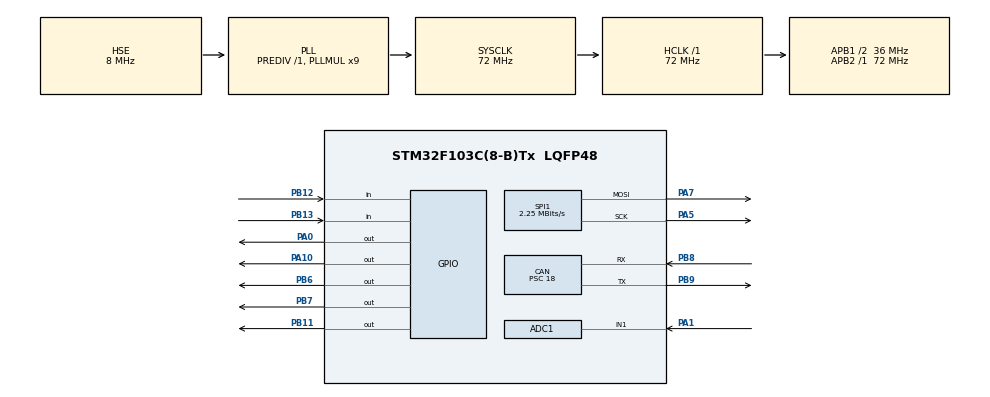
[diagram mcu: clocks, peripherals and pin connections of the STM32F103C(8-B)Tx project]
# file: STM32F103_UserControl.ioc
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ADC1.Channel-4\#ChannelRegularConversion=ADC_CHANNEL_1
ADC1.ContinuousConvMode=ENABLE
ADC1.EnableRegularConversion=ENABLE
ADC1.NbrOfConversion=1
ADC1.NbrOfConversionFlag=1
ADC1.Rank-4\#ChannelRegularConversion=1
ADC1.SamplingTime-4\#ChannelRegularConversion=ADC_SAMPLETIME_239CYCLES_5
ADC1.master=1
CAN.BS1=CAN_BS1_13TQ
CAN.BS2=CAN_BS2_2TQ
CAN.CalculateBaudRate=125000
CAN.CalculateTimeBit=8000
CAN.CalculateTimeQuantum=500.0
CAN.NART=DISABLE
CAN.Prescaler=18
CAN.TXFP=DISABLE
Dma.ADC1.0.Direction=DMA_PERIPH_TO_MEMORY
Dma.ADC1.0.Instance=DMA1_Channel1
Dma.ADC1.0.MemDataAlignment=DMA_MDATAALIGN_HALFWORD
Dma.ADC1.0.MemInc=DMA_MINC_ENABLE
Dma.ADC1.0.Mode=DMA_CIRCULAR
Dma.ADC1.0.PeriphDataAlignment=DMA_PDATAALIGN_HALFWORD
Dma.ADC1.0.PeriphInc=DMA_PINC_DISABLE
Dma.ADC1.0.Priority=DMA_PRIORITY_LOW
Dma.Request0=ADC1
Dma.Request1=SPI1_TX
Dma.SPI1_TX.1.Direction=DMA_MEMORY_TO_PERIPH
Dma.SPI1_TX.1.Instance=DMA1_Channel3
Dma.SPI1_TX.1.MemDataAlignment=DMA_MDATAALIGN_BYTE
Dma.SPI1_TX.1.MemInc=DMA_MINC_ENABLE
Dma.SPI1_TX.1.Mode=DMA_NORMAL
Dma.SPI1_TX.1.PeriphDataAlignment=DMA_PDATAALIGN_BYTE
Dma.SPI1_TX.1.PeriphInc=DMA_PINC_DISABLE
Dma.SPI1_TX.1.Priority=DMA_PRIORITY_LOW
IWDG.Prescaler=IWDG_PRESCALER_16
IWDG.Reload=2500
Mcu.Family=STM32F1
Mcu.Name=STM32F103C(8-B)Tx
Mcu.Package=LQFP48
NVIC.ADC1_2_IRQn=true\:5\:0\:true\:false\:true\:true\:true\:true
NVIC.CAN1_RX1_IRQn=true\:6\:0\:true\:false\:true\:true\:true\:true
NVIC.CAN1_SCE_IRQn=true\:5\:0\:true\:false\:true\:true\:true\:true
NVIC.DMA1_Channel1_IRQn=true\:5\:0\:true\:false\:true\:false\:true\:true
NVIC.DMA1_Channel3_IRQn=true\:6\:0\:true\:false\:true\:false\:true\:true
NVIC.PriorityGroup=NVIC_PRIORITYGROUP_4
NVIC.RTC_Alarm_IRQn=true\:7\:0\:true\:false\:true\:true\:true\:true
NVIC.RTC_IRQn=true\:5\:0\:true\:false\:true\:true\:true\:true
NVIC.SPI1_IRQn=true\:6\:0\:true\:false\:true\:true\:true\:true
NVIC.TIM4_IRQn=true\:15\:0\:false\:false\:true\:false\:true\:true
NVIC.TimeBase=TIM4_IRQn
NVIC.TimeBaseIP=TIM4
NVIC.USB_HP_CAN1_TX_IRQn=true\:7\:0\:true\:false\:true\:true\:true\:true
NVIC.USB_LP_CAN1_RX0_IRQn=true\:5\:0\:true\:false\:true\:true\:true\:true
PA0-WKUP.Signal=GPIO_Output
PA1.Signal=ADCx_IN1
PA10.Signal=GPIO_Output
PA13.Mode=Serial_Wire
PA13.Signal=SYS_JTMS-SWDIO
PA14.Mode=Serial_Wire
PA14.Signal=SYS_JTCK-SWCLK
PA5.Mode=TX_Only_Simplex_Unidirect_Master
PA5.Signal=SPI1_SCK
PA7.Mode=TX_Only_Simplex_Unidirect_Master
PA7.Signal=SPI1_MOSI
PB11.Signal=GPIO_Output
PB12.GPIO_PuPd=GPIO_PULLUP
PB12.Signal=GPIO_Input
PB13.GPIO_PuPd=GPIO_PULLUP
PB13.Signal=GPIO_Input
PB6.Signal=GPIO_Output
PB7.Signal=GPIO_Output
PB8.Mode=CAN_Activate
PB8.Signal=CAN_RX
PB9.Mode=CAN_Activate
PB9.Signal=CAN_TX
PC14-OSC32_IN.Mode=LSE-External-Oscillator
PC14-OSC32_IN.Signal=RCC_OSC32_IN
PC15-OSC32_OUT.Mode=LSE-External-Oscillator
PC15-OSC32_OUT.Signal=RCC_OSC32_OUT
PD0-OSC_IN.Mode=HSE-External-Oscillator
PD0-OSC_IN.Signal=RCC_OSC_IN
PD1-OSC_OUT.Mode=HSE-External-Oscillator
PD1-OSC_OUT.Signal=RCC_OSC_OUT
ProjectManager.HeapSize=0x200
ProjectManager.StackSize=0x400
ProjectManager.TargetToolchain=STM32CubeIDE
RCC.ADCPresc=RCC_ADCPCLK2_DIV6
RCC.AHBFreq_Value=72000000
RCC.APB1CLKDivider=RCC_HCLK_DIV2
RCC.APB1Freq_Value=36000000
RCC.APB1TimFreq_Value=72000000
RCC.APB2Freq_Value=72000000
RCC.APB2TimFreq_Value=72000000
RCC.HCLKFreq_Value=72000000
RCC.PLLMUL=RCC_PLL_MUL9
RCC.PLLSourceVirtual=RCC_PLLSOURCE_HSE
RCC.RTCClockSelection=RCC_RTCCLKSOURCE_LSE
RCC.SYSCLKFreq_VALUE=72000000
RCC.SYSCLKSource=RCC_SYSCLKSOURCE_PLLCLK
RCC.USBFreq_Value=72000000
RTC.AutoPrediv=RTC_AUTO_1_SECOND
RTC.Date=16
RTC.Format=RTC_FORMAT_BIN
RTC.Hours=22
RTC.Month=RTC_MONTH_APRIL
RTC.WeekDay=RTC_WEEKDAY_THURSDAY
RTC.Year=26
SH.ADCx_IN1.0=ADC1_IN1,IN1
SPI1.BaudRatePrescaler=SPI_BAUDRATEPRESCALER_32
SPI1.CalculateBaudRate=2.25 MBits/s
SPI1.Direction=SPI_DIRECTION_2LINES
SPI1.Mode=SPI_MODE_MASTER
SPI1.VirtualType=VM_MASTER
VP_IWDG_VS_IWDG.Mode=IWDG_Activate
VP_RTC_VS_RTC_Activate.Mode=RTC_Enabled
VP_RTC_VS_RTC_Calendar.Mode=RTC_Calendar
VP_SYS_VS_tim4.Mode=TIM4
board=custom

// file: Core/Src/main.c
/* USER CODE BEGIN Header */
/**
  ******************************************************************************
  * @file           : main.c
  * @brief          : Main program body
  ******************************************************************************
  * @attention
  *
  * Copyright (c) 2026 STMicroelectronics.
  * All rights reserved.
  *
  * This software is licensed under terms that can be found in the LICENSE file
  * in the root directory of this software component.
  * If no LICENSE file comes with this software, it is provided AS-IS.
  *
  ******************************************************************************
  */
/* USER CODE END Header */
#include "main.h"

/* USER CODE BEGIN Includes */

#include "stdio.h"
#include "FreeRTOSConfig.h"
#include "FreeRTOS.h"
#include "task.h"

/* USER CODE END Includes */

ADC_HandleTypeDef hadc1;
DMA_HandleTypeDef hdma_adc1;

CAN_HandleTypeDef hcan;

IWDG_HandleTypeDef hiwdg;

RTC_HandleTypeDef hrtc;

SPI_HandleTypeDef hspi1;
DMA_HandleTypeDef hdma_spi1_tx;

void SystemClock_Config(void);
static void MX_GPIO_Init(void);
static void MX_DMA_Init(void);
static void MX_ADC1_Init(void);
static void MX_RTC_Init(void);
static void MX_SPI1_Init(void);
static void MX_IWDG_Init(void);
static void MX_CAN_Init(void);

int main(void)
{

  /* MCU Configuration--------------------------------------------------------*/

  /* Reset of all peripherals, Initializes the Flash interface and the Systick. */
  HAL_Init();

  /* USER CODE BEGIN Init */

  /* Enable DWT clock for proper work SEGGER SYSVIEW */
  CoreDebug->DEMCR |= CoreDebug_DEMCR_TRCENA_Msk;
  DWT->CYCCNT = 0;
  DWT->CTRL |= DWT_CTRL_CYCCNTENA_Msk;

  /* Set grouping priority manually for avoiding freeRTOS conflicts */
  NVIC_SetPriorityGrouping(0);

  /* USER CODE END Init */

  /* Configure the system clock */
  SystemClock_Config();

  /* Initialize all configured peripherals */
  MX_GPIO_Init();
  MX_DMA_Init();
  MX_ADC1_Init();
  MX_RTC_Init();
  MX_SPI1_Init();
//  MX_IWDG_Init();
  MX_CAN_Init();
  /* USER CODE BEGIN 2 */

  /* Set Hardware and start application layer */
  AppHardwareConfig_t app_hw =
  {
	.padc1 = &hadc1,
	.prtc = &hrtc,
	.piwdg = &hiwdg,
	.pspi1 = &hspi1,
	.pcan = &hcan,
  };
  APP_Main(&app_hw);

  /* USER CODE END 2 */

  /* Infinite loop */
  while (1)
  {

  }
}

void SystemClock_Config(void)
{
  RCC_OscInitTypeDef RCC_OscInitStruct = {0};
  RCC_ClkInitTypeDef RCC_ClkInitStruct = {0};
  RCC_PeriphCLKInitTypeDef PeriphClkInit = {0};

  /** Initializes the RCC Oscillators according to the specified parameters
  * in the RCC_OscInitTypeDef structure.
  */
  RCC_OscInitStruct.OscillatorType = RCC_OSCILLATORTYPE_LSI|RCC_OSCILLATORTYPE_HSE
                              |RCC_OSCILLATORTYPE_LSE;
  RCC_OscInitStruct.HSEState = RCC_HSE_ON;
  RCC_OscInitStruct.HSEPredivValue = RCC_HSE_PREDIV_DIV1;
  RCC_OscInitStruct.LSEState = RCC_LSE_ON;
  RCC_OscInitStruct.HSIState = RCC_HSI_ON;
  RCC_OscInitStruct.LSIState = RCC_LSI_ON;
  RCC_OscInitStruct.PLL.PLLState = RCC_PLL_ON;
  RCC_OscInitStruct.PLL.PLLSource = RCC_PLLSOURCE_HSE;
  RCC_OscInitStruct.PLL.PLLMUL = RCC_PLL_MUL9;
  if (HAL_RCC_OscConfig(&RCC_OscInitStruct) != HAL_OK)
  {
    Error_Handler();
  }

  /** Initializes the CPU, AHB and APB buses clocks
  */
  RCC_ClkInitStruct.ClockType = RCC_CLOCKTYPE_HCLK|RCC_CLOCKTYPE_SYSCLK
                              |RCC_CLOCKTYPE_PCLK1|RCC_CLOCKTYPE_PCLK2;
  RCC_ClkInitStruct.SYSCLKSource = RCC_SYSCLKSOURCE_PLLCLK;
  RCC_ClkInitStruct.AHBCLKDivider = RCC_SYSCLK_DIV1;
  RCC_ClkInitStruct.APB1CLKDivider = RCC_HCLK_DIV2;
  RCC_ClkInitStruct.APB2CLKDivider = RCC_HCLK_DIV1;

  if (HAL_RCC_ClockConfig(&RCC_ClkInitStruct, FLASH_LATENCY_2) != HAL_OK)
  {
    Error_Handler();
  }
  PeriphClkInit.PeriphClockSelection = RCC_PERIPHCLK_RTC|RCC_PERIPHCLK_ADC;
  PeriphClkInit.RTCClockSelection = RCC_RTCCLKSOURCE_LSE;
  PeriphClkInit.AdcClockSelection = RCC_ADCPCLK2_DIV6;
  if (HAL_RCCEx_PeriphCLKConfig(&PeriphClkInit) != HAL_OK)
  {
    Error_Handler();
  }
}

static void MX_ADC1_Init(void)
{

  ADC_ChannelConfTypeDef sConfig = {0};

  /** Common config
  */
  hadc1.Instance = ADC1;
  hadc1.Init.ScanConvMode = ADC_SCAN_DISABLE;
  hadc1.Init.ContinuousConvMode = ENABLE;
  hadc1.Init.DiscontinuousConvMode = DISABLE;
  hadc1.Init.ExternalTrigConv = ADC_SOFTWARE_START;
  hadc1.Init.DataAlign = ADC_DATAALIGN_RIGHT;
  hadc1.Init.NbrOfConversion = 1;
  if (HAL_ADC_Init(&hadc1) != HAL_OK)
  {
    Error_Handler();
  }

  /** Configure Regular Channel
  */
  sConfig.Channel = ADC_CHANNEL_1;
  sConfig.Rank = ADC_REGULAR_RANK_1;
  sConfig.SamplingTime = ADC_SAMPLETIME_239CYCLES_5;
  if (HAL_ADC_ConfigChannel(&hadc1, &sConfig) != HAL_OK)
  {
    Error_Handler();
  }

}

static void MX_CAN_Init(void)
{

  hcan.Instance = CAN1;
  hcan.Init.Prescaler = 18;
  hcan.Init.Mode = CAN_MODE_NORMAL;
  hcan.Init.SyncJumpWidth = CAN_SJW_1TQ;
  hcan.Init.TimeSeg1 = CAN_BS1_13TQ;
  hcan.Init.TimeSeg2 = CAN_BS2_2TQ;
  hcan.Init.TimeTriggeredMode = DISABLE;
  hcan.Init.AutoBusOff = DISABLE;
  hcan.Init.AutoWakeUp = DISABLE;
  hcan.Init.AutoRetransmission = DISABLE;
  hcan.Init.ReceiveFifoLocked = DISABLE;
  hcan.Init.TransmitFifoPriority = DISABLE;
  if (HAL_CAN_Init(&hcan) != HAL_OK)
  {
    Error_Handler();
  }

}

static void MX_IWDG_Init(void)
{

  hiwdg.Instance = IWDG;
  hiwdg.Init.Prescaler = IWDG_PRESCALER_16;
  hiwdg.Init.Reload = 2500;
  if (HAL_IWDG_Init(&hiwdg) != HAL_OK)
  {
    Error_Handler();
  }

}

static void MX_RTC_Init(void)
{

  RTC_TimeTypeDef sTime = {0};
  RTC_DateTypeDef DateToUpdate = {0};

  /** Initialize RTC Only
  */
  hrtc.Instance = RTC;
  hrtc.Init.AsynchPrediv = RTC_AUTO_1_SECOND;
  hrtc.Init.OutPut = RTC_OUTPUTSOURCE_ALARM;
  if (HAL_RTC_Init(&hrtc) != HAL_OK)
  {
    Error_Handler();
  }

  /** Initialize RTC and set the Time and Date
  */
  sTime.Hours = 22;
  sTime.Minutes = 0;
  sTime.Seconds = 0;

  if (HAL_RTC_SetTime(&hrtc, &sTime, RTC_FORMAT_BIN) != HAL_OK)
  {
    Error_Handler();
  }
  DateToUpdate.WeekDay = RTC_WEEKDAY_THURSDAY;
  DateToUpdate.Month = RTC_MONTH_APRIL;
  DateToUpdate.Date = 16;
  DateToUpdate.Year = 26;

  if (HAL_RTC_SetDate(&hrtc, &DateToUpdate, RTC_FORMAT_BIN) != HAL_OK)
  {
    Error_Handler();
  }

}

static void MX_SPI1_Init(void)
{

  /* SPI1 parameter configuration*/
  hspi1.Instance = SPI1;
  hspi1.Init.Mode = SPI_MODE_MASTER;
  hspi1.Init.Direction = SPI_DIRECTION_2LINES;
  hspi1.Init.DataSize = SPI_DATASIZE_8BIT;
  hspi1.Init.CLKPolarity = SPI_POLARITY_LOW;
  hspi1.Init.CLKPhase = SPI_PHASE_1EDGE;
  hspi1.Init.NSS = SPI_NSS_SOFT;
  hspi1.Init.BaudRatePrescaler = SPI_BAUDRATEPRESCALER_32;
  hspi1.Init.FirstBit = SPI_FIRSTBIT_MSB;
  hspi1.Init.TIMode = SPI_TIMODE_DISABLE;
  hspi1.Init.CRCCalculation = SPI_CRCCALCULATION_DISABLE;
  hspi1.Init.CRCPolynomial = 10;
  if (HAL_SPI_Init(&hspi1) != HAL_OK)
  {
    Error_Handler();
  }

}

static void MX_DMA_Init(void)
{

  /* DMA controller clock enable */
  __HAL_RCC_DMA1_CLK_ENABLE();

  /* DMA interrupt init */
  /* DMA1_Channel1_IRQn interrupt configuration */
  HAL_NVIC_SetPriority(DMA1_Channel1_IRQn, 5, 0);
  HAL_NVIC_EnableIRQ(DMA1_Channel1_IRQn);
  /* DMA1_Channel3_IRQn interrupt configuration */
  HAL_NVIC_SetPriority(DMA1_Channel3_IRQn, 6, 0);
  HAL_NVIC_EnableIRQ(DMA1_Channel3_IRQn);

}

static void MX_GPIO_Init(void)
{
  GPIO_InitTypeDef GPIO_InitStruct = {0};

  /* GPIO Ports Clock Enable */
  __HAL_RCC_GPIOC_CLK_ENABLE();
  __HAL_RCC_GPIOD_CLK_ENABLE();
  __HAL_RCC_GPIOA_CLK_ENABLE();
  __HAL_RCC_GPIOB_CLK_ENABLE();

  /*Configure GPIO pin Output Level */
  HAL_GPIO_WritePin(GPIOA, GPIO_PIN_0|GPIO_PIN_10, GPIO_PIN_RESET);

  /*Configure GPIO pin Output Level */
  HAL_GPIO_WritePin(GPIOB, GPIO_PIN_11|GPIO_PIN_6|GPIO_PIN_7, GPIO_PIN_RESET);

  /*Configure GPIO pins : PA0 PA10 */
  GPIO_InitStruct.Pin = GPIO_PIN_0|GPIO_PIN_10;
  GPIO_InitStruct.Mode = GPIO_MODE_OUTPUT_PP;
  GPIO_InitStruct.Pull = GPIO_NOPULL;
  GPIO_InitStruct.Speed = GPIO_SPEED_FREQ_LOW;
  HAL_GPIO_Init(GPIOA, &GPIO_InitStruct);

  /*Configure GPIO pins : PB11 PB6 PB7 */
  GPIO_InitStruct.Pin = GPIO_PIN_11|GPIO_PIN_6|GPIO_PIN_7;
  GPIO_InitStruct.Mode = GPIO_MODE_OUTPUT_PP;
  GPIO_InitStruct.Pull = GPIO_NOPULL;
  GPIO_InitStruct.Speed = GPIO_SPEED_FREQ_LOW;
  HAL_GPIO_Init(GPIOB, &GPIO_InitStruct);

  /*Configure GPIO pins : PB12 PB13 */
  GPIO_InitStruct.Pin = GPIO_PIN_12|GPIO_PIN_13;
  GPIO_InitStruct.Mode = GPIO_MODE_INPUT;
  GPIO_InitStruct.Pull = GPIO_PULLUP;
  HAL_GPIO_Init(GPIOB, &GPIO_InitStruct);

}

/* USER CODE BEGIN 4 */

void vApplicationStackOverflowHook(void)
{
	while(1)
	{

	}
}

/* USER CODE END 4 */

void HAL_TIM_PeriodElapsedCallback(TIM_HandleTypeDef *htim)
{
  if (htim->Instance == TIM4) {
    HAL_IncTick();
  }
}

void Error_Handler(void)
{
  __disable_irq();
  while (1)
  {
  }
}
